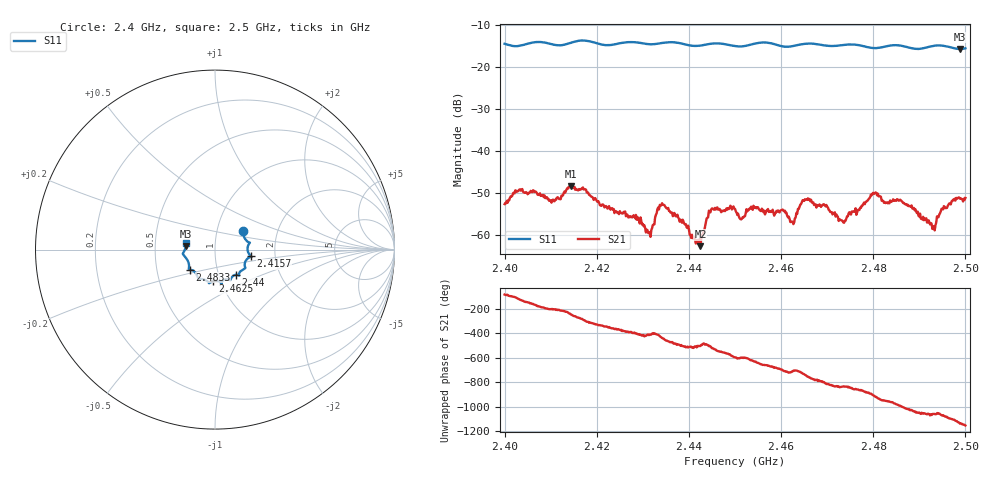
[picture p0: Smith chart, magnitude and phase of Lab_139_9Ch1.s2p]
# Hz S RI R 50
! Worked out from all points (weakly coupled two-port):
!   601 points, 2.4 GHz to 2.5 GHz, reference 50 ohm
!   highest |S21| = -48.40 dB at 2.4143 GHz (marker M1); lowest = -62.7 dB at 2.4425 GHz (marker M2)
!   lowest |S11| = -15.7 dB at 2.4988 GHz (marker M3), VSWR 1.39, Z = 36 + j1.4 ohm
!   |S11| at or under -10 dB: start of sweep to end of sweep
!   S12 and S22 are empty: the file has one direction only
!   S11 on the Smith chart (normalised r, x): 2.4 GHz: 1.34, +0.29; 2.4157 GHz: 1.49, -0.12; 2.44 GHz: 1.21, -0.35; 2.4625 GHz: 0.92, -0.34; 2.4833 GHz: 0.74, -0.17; 2.5 GHz: 0.72, +0.06
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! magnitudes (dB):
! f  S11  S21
! 2.4 GHz  -14.5  -52.7
! 2.4028 GHz  -15.0  -49.7
! 2.4103 GHz  -14.6  -51.8
! 2.4143 GHz  -14.3  -48.4
! 2.4157 GHz  -13.8  -49.2
! 2.4167 GHz  -13.7  -49.2
! 2.4312 GHz  -14.6  -59.6
! 2.4333 GHz  -14.4  -53.5
! 2.44 GHz  -14.8  -58.7
! 2.4425 GHz  -14.9  -62.7
! 2.4448 GHz  -14.5  -53.9
! 2.45 GHz  -15.0  -53.8
! 2.4603 GHz  -15.1  -54.0
! 2.4625 GHz  -15.0  -56.9
! 2.4647 GHz  -14.6  -51.8
! 2.4667 GHz  -14.4  -52.3
! 2.4735 GHz  -14.8  -57.1
! 2.48 GHz  -15.5  -50.0
! 2.4833 GHz  -15.0  -52.3
! 2.493 GHz  -15.0  -58.2
! 2.4988 GHz  -15.7  -51.4
! 2.5 GHz  -15.6  -51.2
